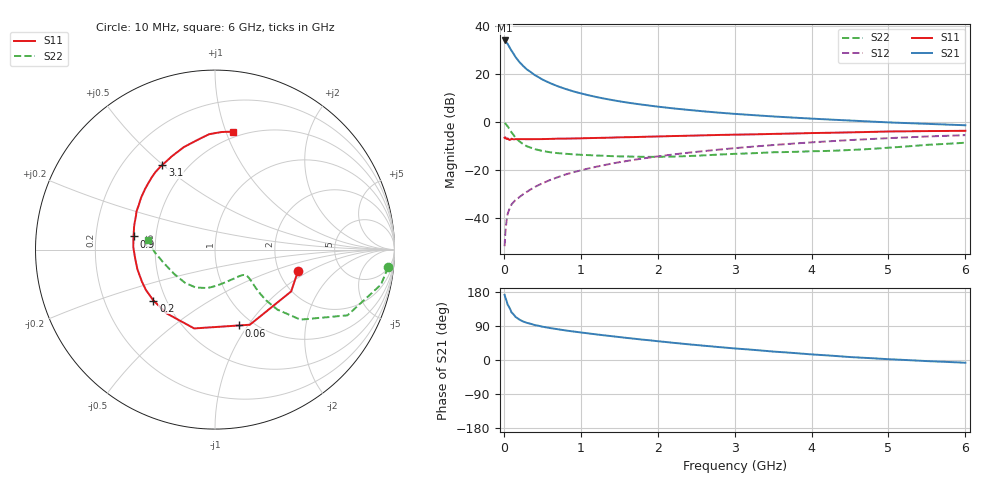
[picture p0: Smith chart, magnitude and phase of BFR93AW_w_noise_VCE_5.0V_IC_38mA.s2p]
! (c) 2017  Infineon Technologies AG, Munich
! Infineon Technologies  Discrete & RF Semiconductors
! BFR93AW
! VCE =  5.0 V,  IC =  38 mA
! Common Emitter S-Parameters:  Jan 2017
# GHz  S  MA  R  50
!  f  S11  S21  S12  S22
! GHz  MAG  ANG  MAG  ANG  MAG  ANG  MAG  ANG
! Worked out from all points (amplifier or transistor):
!   77 points, 10 MHz to 6 GHz, reference 50 ohm
!   highest |S21| = 34.2 dB at 10 MHz (marker M1)
!   |S21| within 3 dB of that: start of sweep to 76.56 MHz
!   unconditionally stable (mu >= 1): 516.3 MHz to 2.018 GHz
!   at 130 MHz: K = 0.57, MSG = 30.8 dB, |S12| = -33.2 dB
!   at 2.2 GHz: K = 0.99, MSG = 9.6 dB, |S12| = -13.4 dB
!   at 6 GHz: K = 0.88, MSG = 2.1 dB, |S12| = -5.4 dB
!   lowest NFmin = 1.99 dB at 450 MHz
!   S11 on the Smith chart (normalised r, x): 10 MHz: 2.54, -0.79; 60 MHz: 0.86, -0.91; 200 MHz: 0.43, -0.30; 900 MHz: 0.37, +0.07; 3.1 GHz: 0.36, +0.50; 6 GHz: 0.45, +1.06
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0.01  0.4776 -14.6  51.1 172.0  0.0026 81.3  0.9696 -5.8
0.02  0.484 -28.8  50.58 164.8  0.0051 84.3  0.9452 -11.9
0.05  0.4615 -65.1  43.05 145.8  0.0123 70.5  0.8239 -26.4
0.06  0.4429 -72.6  40.34 142.7  0.0137 68.1  0.7797 -28.4
0.1  0.4543 -104.8  31.18 125.5  0.0193 61.8  0.6158 -39.3
0.15  0.4458 -126.9  23.3 114.1  0.0237 59.9  0.482 -43.9
0.2  0.4453 -140.4  18.31 106.9  0.0273 62.7  0.4021 -44.8
0.25  0.4458 -149.7  15.05 101.7  0.0315 61.8  0.3515 -44.3
0.3  0.4446 -156.4  12.69 98.0  0.0354 64.7  0.3157 -43.4
0.4  0.446 -165.7  9.72 92.3  0.0445 67.1  0.2757 -41.4
0.5  0.4469 -172.4  7.836 88.0  0.0531 68.7  0.2527 -40.2
0.6  0.4503 -177.6  6.586 84.4  0.0624 69.6  0.2375 -39.5
0.7  0.4556 178.1  5.667 81.2  0.0714 70.6  0.2274 -39.5
0.9  0.4598 170.8  4.439 75.3  0.0904 71.2  0.2149 -41.2
1.1  0.468 164.5  3.676 70.2  0.1088 70.8  0.2066 -44.0
1.3  0.4752 159.0  3.136 65.2  0.1273 69.7  0.2002 -48.0
1.5  0.4859 154.3  2.747 60.6  0.1468 68.7  0.1944 -53.2
2.1  0.5114 140.8  2.038 47.6  0.2036 64.2  0.1914 -73.2
3.1  0.5556 121.8  1.464 29.0  0.2978 55.0  0.2222 -106.2
4.1  0.5999 105.5  1.172 13.5  0.3903 44.8  0.2504 -135.5
5.1  0.6458 91.6  0.982 1.2  0.4747 33.7  0.3028 -168.2
6  0.6654 81.1  0.868 -7.2  0.5401 23.7  0.3748 172.2
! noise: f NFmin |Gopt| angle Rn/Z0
0.45  1.99  0.22  179  0.16
0.9  2.27  0.28  -171  0.17
1.9  3.33  0.52  -133  0.34
2.4  4.02  0.56  -123  0.63
